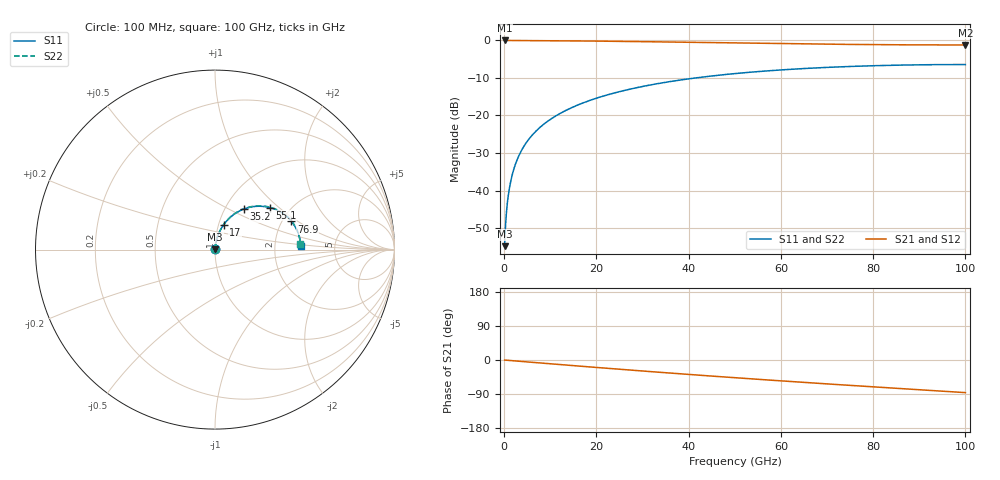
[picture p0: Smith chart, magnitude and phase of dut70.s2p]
! Touchstone file exported from HFSS 2026.1.0
!  File:  C:/ffzhzh/LocalFiles/Ansys_Project_Files/temp_train_RDL_70_1783498626_31944.aedt
!  Generated:  04:18:12 PM Jul  8, 2026
!  Design:  RDL
!  Project:  temp_train_RDL_70_1783498626_31944
! Variables:
!  h_bsmrdl = 2um
!  h_ox = 20um
!  h_rdl = 5um
!  h_sub = 80um
!  h_tmrdl = 3.25um
!  h_tsv = 80um
!  h_via = 3um
!  l_bsmrdl = 300um
!  l_sub = 672.32um
!  l_tmrdl = 272.32um
!  m_sub = 200um
!  pitch = 43.53um
!  r_tsv = 6um
!  s_tmrdl = 10um
!  w_bsmrdl = 18um
!  w_sub = 500um
!  w_tmrdl = 23.68um
!  x_tsv_center1 = 284.16um
!  x_tsv_center2 = 602.16um
!  x_tsv_center3 = 898.16um
!  x_tsv_center4 = 1216.16um
!  x_tsv_center5 = 1512.16um
!  x_tsv_center6 = 1830.16um
# GHz S MA R 50.000000
! Terminal data exported
! Port[1] = TM_RDL1_1_T1
! Port[2] = TM_RDL1_1_T2
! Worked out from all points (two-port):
!   1000 points, 100 MHz to 100 GHz, reference 50 ohm
!   highest |S21| = -0.01 dB at 100 MHz (marker M1); lowest = -1.2 dB at 100 GHz (marker M2)
!   |S21| within 3 dB of the highest: start of sweep to end of sweep
!   lowest |S11| = -54.8 dB at 100 MHz (marker M3), VSWR 1.00, Z = 50.1 + j0.104 ohm
!   |S11| at or under -10 dB: start of sweep to 41.48 GHz
!   |S22| runs from -54.8 to -6.4 dB; largest |S21 - S12| = 6.5e-15
!   S11 on the Smith chart (normalised r, x): 100 MHz: 1.00, +0.00; 17 GHz: 1.06, +0.30; 35.2 GHz: 1.22, +0.60; 55.1 GHz: 1.59, +0.87; 76.9 GHz: 2.24, +0.89; 100 GHz: 2.81, +0.17
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0.1  0.001817 34.7  0.9985 -0.1  0.9985 -0.1  0.001817 34.7
! Gamma 0 0 0 0
! Port Impedance 50 0 50 0
0.3  0.003416 60.7  0.9983 -0.3  0.9983 -0.3  0.003416 60.7
0.9  0.008613 76.2  0.998 -0.9  0.998 -0.9  0.008613 76.2
1.2  0.01127 78.6  0.998 -1.2  0.998 -1.2  0.01127 78.6
1.5  0.01394 80.1  0.9979 -1.5  0.9979 -1.5  0.01394 80.1
2  0.01843 81.4  0.9977 -2.0  0.9977 -2.0  0.01843 81.4
2.6  0.02382 82.0  0.9975 -2.6  0.9975 -2.6  0.02382 82.0
4.1  0.03724 81.9  0.9968 -4.1  0.9968 -4.1  0.03724 81.9
6.2  0.05579 80.5  0.9953 -6.2  0.9953 -6.2  0.05579 80.6
9  0.08001 78.1  0.9929 -9.0  0.9929 -9.0  0.08001 78.2
12.5  0.1095 75.0  0.9892 -12.4  0.9892 -12.4  0.1095 75.1
16.8  0.1446 71.1  0.9838 -16.6  0.9838 -16.6  0.1446 71.3
17  0.1462 70.9  0.9836 -16.8  0.9836 -16.8  0.1462 71.1
24.3  0.2026 64.2  0.9726 -23.7  0.9726 -23.7  0.2025 64.5
33.4  0.2664 56.1  0.9563 -32.2  0.9563 -32.2  0.2664 56.4
35.2  0.2781 54.5  0.9528 -33.8  0.9528 -33.8  0.278 54.8
50.1  0.3618 41.6  0.9237 -46.8  0.9237 -46.8  0.3618 42.2
55.1  0.3846 37.5  0.9144 -51.0  0.9144 -51.0  0.3846 38.1
66.7  0.4275 28.1  0.8951 -60.4  0.8951 -60.4  0.4274 28.9
76.9  0.4539 20.2  0.8821 -68.5  0.8821 -68.5  0.4538 21.0
83.4  0.4654 15.2  0.876 -73.5  0.876 -73.5  0.4654 16.1
100  0.477 2.7  0.8694 -86.1  0.8694 -86.1  0.4769 3.8
